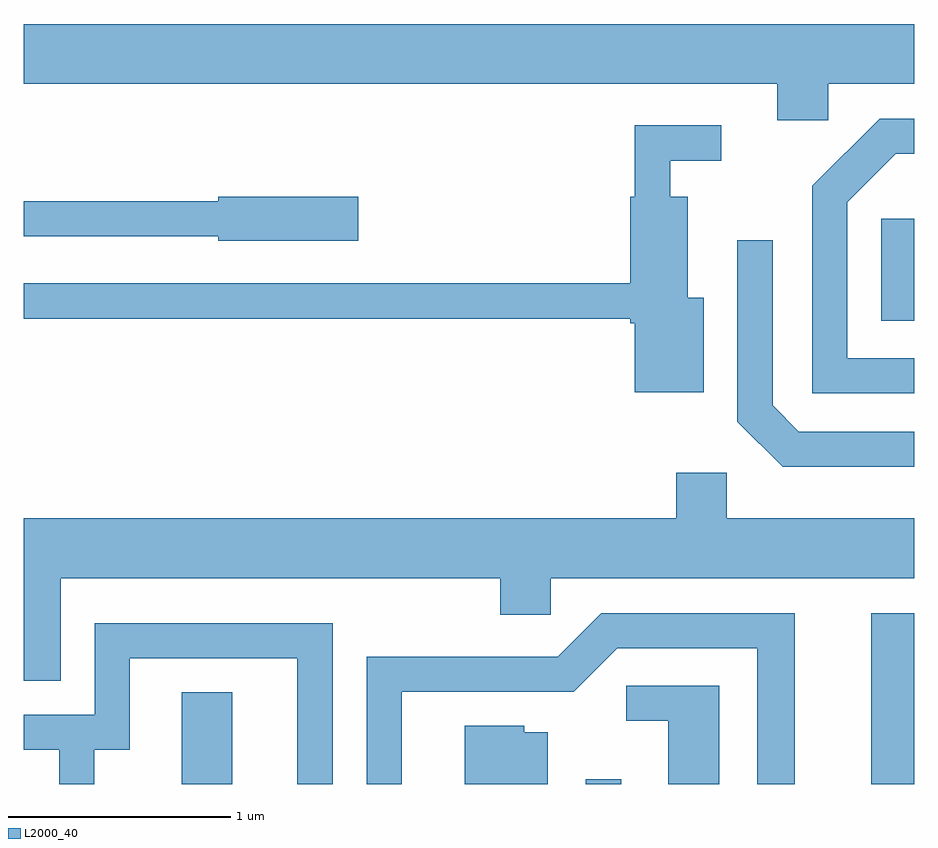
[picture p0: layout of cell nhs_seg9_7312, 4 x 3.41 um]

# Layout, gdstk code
import gdstk
lib = gdstk.Library(unit=1e-6, precision=1e-09)
def R(c, l, rs):  # rectangles x0, y0, x1, y1
    for r in rs: c.add(gdstk.rectangle(r[:2], r[2:], *l))
def P(c, l, *ps):  # polygons
    for p in ps: c.add(gdstk.Polygon(p, *l))
L2000_40 = (2000, 40)

nhs_seg9_7312 = lib.new_cell('nhs_seg9_7312')
R(nhs_seg9_7312, L2000_40, [(402.321,2006.432,402.549,2006.844), (404.136,2006.432,404.294,2006.453), (405.416,2006.432,405.611,2007.199), (405.461,2008.511,405.611,2008.969)])
P(nhs_seg9_7312, L2000_40, [(405.224,2009.576),(405.611,2009.576),(405.611,2009.844),(401.611,2009.844),(401.611,2009.576),(404.996,2009.576),(404.996,2009.411),(405.224,2009.411)],
  [(405.611,2008.344),(405.309,2008.344),(405.309,2009.044),(405.527,2009.261),(405.611,2009.261),(405.611,2009.419),(405.454,2009.419),(405.151,2009.117),(405.151,2008.186),(405.611,2008.186)],
  [(404.664,2008.614),(404.594,2008.614),(404.594,2009.069),(404.514,2009.069),(404.514,2009.231),(404.743,2009.231),(404.743,2009.389),(404.356,2009.389),(404.356,2009.069),(404.336,2009.069),(404.336,2008.679),(401.611,2008.679),(401.611,2008.521),(404.336,2008.521),(404.336,2008.501),(404.356,2008.501),(404.356,2008.191),(404.664,2008.191)],
  [(403.114,2009.069),(402.486,2009.069),(402.486,2009.049),(401.611,2009.049),(401.611,2008.891),(402.486,2008.891),(402.486,2008.871),(403.114,2008.871)],
  [(405.611,2008.014),(405.092,2008.014),(404.974,2008.132),(404.974,2008.873),(404.816,2008.873),(404.816,2008.059),(405.019,2007.856),(405.611,2007.856)],
  [(405.611,2007.624),(404.769,2007.624),(404.769,2007.829),(404.541,2007.829),(404.541,2007.624),(401.611,2007.624),(401.611,2006.896),(401.779,2006.896),(401.779,2007.356),(403.751,2007.356),(403.751,2007.191),(403.979,2007.191),(403.979,2007.356),(405.611,2007.356)],
  [(403.309,2006.846),(404.082,2006.846),(404.277,2007.041),(404.906,2007.041),(404.906,2006.432),(405.074,2006.432),(405.074,2007.199),(404.204,2007.199),(404.009,2007.004),(403.151,2007.004),(403.151,2006.432),(403.309,2006.432)],
  [(401.929,2006.586),(402.089,2006.586),(402.089,2006.996),(402.841,2006.996),(402.841,2006.432),(402.999,2006.432),(402.999,2007.154),(401.931,2007.154),(401.931,2006.744),(401.611,2006.744),(401.611,2006.586),(401.771,2006.586),(401.771,2006.432),(401.929,2006.432)],
  [(404.734,2006.874),(404.318,2006.874),(404.318,2006.716),(404.506,2006.716),(404.506,2006.432),(404.734,2006.432)],
  [(403.964,2006.664),(403.859,2006.664),(403.859,2006.694),(403.591,2006.694),(403.591,2006.432),(403.964,2006.432)])

lib.write_gds('nhs_seg9_7312.gds')
